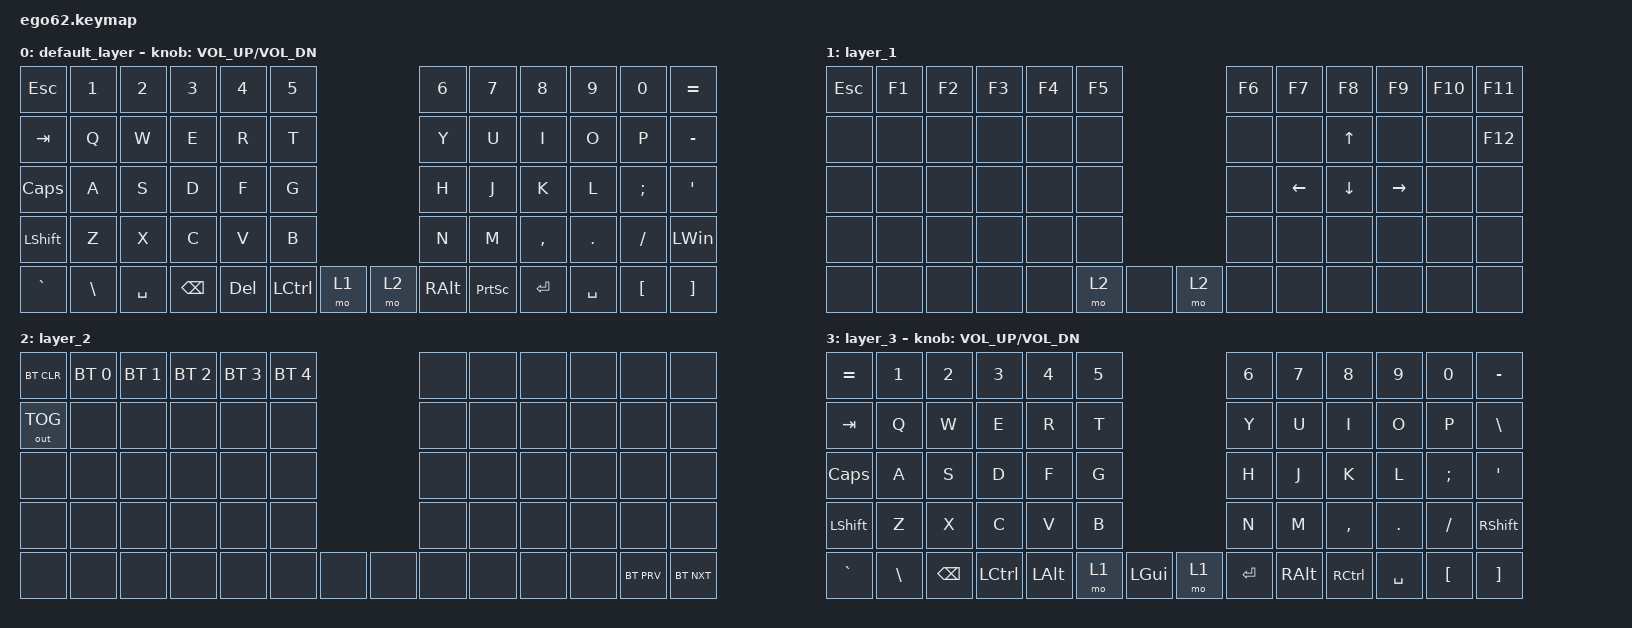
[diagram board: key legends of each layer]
/*
 * Copyright (c) 2020 The ZMK Contributors
 *
 * SPDX-License-Identifier: MIT
 */

#include <behaviors.dtsi>
#include <dt-bindings/zmk/bt.h>
#include <dt-bindings/zmk/keys.h>
#include <dt-bindings/zmk/outputs.h>

/ {
    keymap {
        compatible = "zmk,keymap";

        default_layer {
            bindings = <
&kp ESC       &kp N1         &kp N2     &kp N3         &kp N4   &kp N5                          &kp N6         &kp N7           &kp N8     &kp N9     &kp N0         &kp EQUAL
&kp TAB       &kp Q          &kp W      &kp E          &kp R    &kp T                           &kp Y          &kp U            &kp I      &kp O      &kp P          &kp MINUS
&kp CAPSLOCK  &kp A          &kp S      &kp D          &kp F    &kp G                           &kp H          &kp J            &kp K      &kp L      &kp SEMICOLON  &kp SQT
&kp LSHFT     &kp Z          &kp X      &kp C          &kp V    &kp B                           &kp N          &kp M            &kp COMMA  &kp DOT    &kp FSLH       &kp LWIN
&kp GRAVE     &kp BACKSLASH  &kp SPACE  &kp BACKSPACE  &kp DEL  &kp LEFT_CONTROL  &mo 1  &mo 2  &kp RIGHT_ALT  &kp PRINTSCREEN  &kp ENTER  &kp SPACE  &kp LBKT       &kp RBKT
            >;

            sensor-bindings = <&inc_dec_kp C_VOL_UP C_VOL_DN>;
        };

        layer_1 {
            bindings = <
&kp ESC  &kp F1  &kp F2  &kp F3  &kp F4  &kp F5                &kp F6  &kp F7    &kp F8    &kp F9     &kp F10  &kp F11
&none    &none   &none   &none   &none   &none                 &none   &none     &kp UP    &none      &none    &kp F12
&none    &none   &none   &none   &none   &none                 &none   &kp LEFT  &kp DOWN  &kp RIGHT  &none    &none
&none    &none   &none   &none   &none   &none                 &none   &none     &none     &none      &none    &none
&none    &none   &none   &none   &none   &mo 2   &none  &mo 2  &none   &none     &none     &none      &none    &none
            >;
        };

        layer_2 {
            bindings = <
&bt BT_CLR    &bt BT_SEL 0  &bt BT_SEL 1  &bt BT_SEL 2  &bt BT_SEL 3  &bt BT_SEL 4                &none  &none  &none  &none  &none       &none
&out OUT_TOG  &none         &none         &none         &none         &none                       &none  &none  &none  &none  &none       &none
&none         &none         &none         &none         &none         &none                       &none  &none  &none  &none  &none       &none
&none         &none         &none         &none         &none         &none                       &none  &none  &none  &none  &none       &none
&none         &none         &none         &none         &none         &none         &none  &none  &none  &none  &none  &none  &bt BT_PRV  &bt BT_NXT
            >;
        };

        layer_3 {
            bindings = <
&kp EQUAL     &kp N1         &kp N2         &kp N3     &kp N4    &kp N5                   &kp N6     &kp N7    &kp N8     &kp N9     &kp N0         &kp MINUS
&kp TAB       &kp Q          &kp W          &kp E      &kp R     &kp T                    &kp Y      &kp U     &kp I      &kp O      &kp P          &kp BACKSLASH
&kp CAPSLOCK  &kp A          &kp S          &kp D      &kp F     &kp G                    &kp H      &kp J     &kp K      &kp L      &kp SEMICOLON  &kp SQT
&kp LSHFT     &kp Z          &kp X          &kp C      &kp V     &kp B                    &kp N      &kp M     &kp COMMA  &kp DOT    &kp FSLH       &kp RSHIFT
&kp GRAVE     &kp BACKSLASH  &kp BACKSPACE  &kp LCTRL  &kp LALT  &mo 1   &kp LGUI  &mo 1  &kp ENTER  &kp RALT  &kp RCTRL  &kp SPACE  &kp LBKT       &kp RBKT
            >;

            sensor-bindings = <&inc_dec_kp C_VOL_UP C_VOL_DN>;
        };
    };
};
